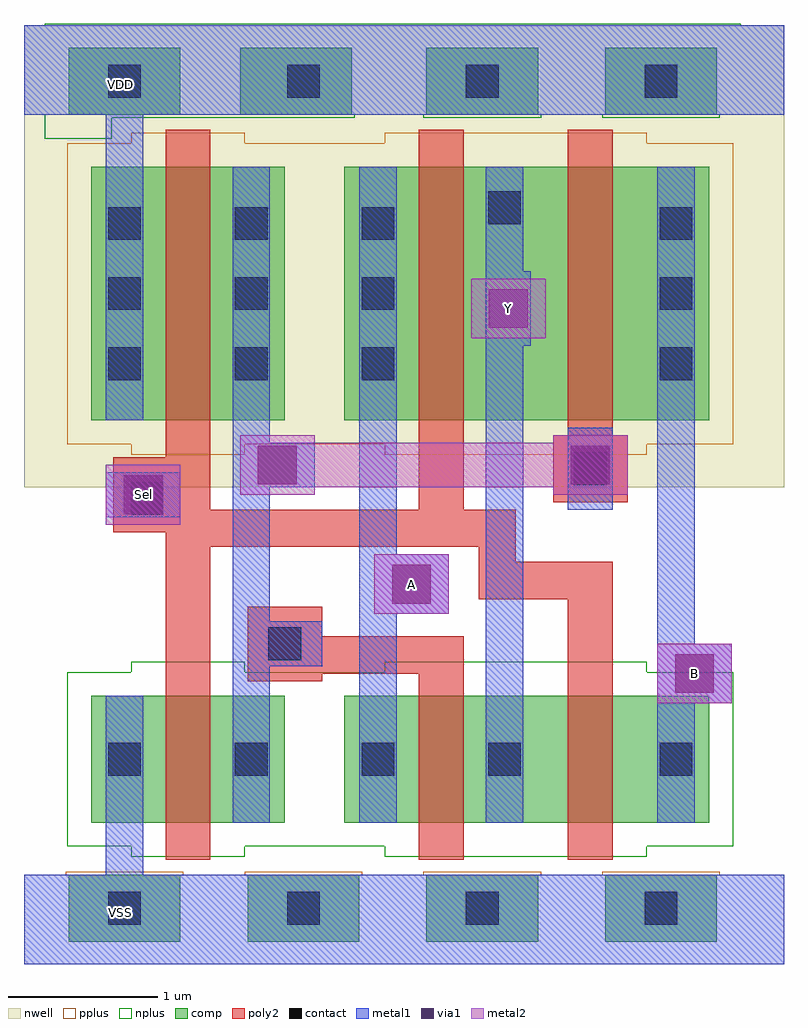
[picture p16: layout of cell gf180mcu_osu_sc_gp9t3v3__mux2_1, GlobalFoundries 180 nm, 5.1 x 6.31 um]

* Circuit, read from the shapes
.subckt gf180mcu_osu_sc_gp9t3v3__mux2_1 A B Sel VDD VSS Y
XM1 n1 Sel VSS VSS nfet_03v3 w=0.85u l=0.3u
XM2 Y n1 A VSS nfet_03v3 w=0.85u l=0.3u
XM3 B Sel Y VSS nfet_03v3 w=0.85u l=0.3u
XM4 n1 Sel VDD VDD pfet_03v3 w=1.7u l=0.3u
XM5 Y Sel A VDD pfet_03v3 w=1.7u l=0.3u
XM6 B n1 Y VDD pfet_03v3 w=1.7u l=0.3u
.ends

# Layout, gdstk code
import gdstk
lib = gdstk.Library(unit=1e-6, precision=1e-09)
def R(c, l, rs):  # rectangles x0, y0, x1, y1
    for r in rs: c.add(gdstk.rectangle(r[:2], r[2:], *l))
def A(c, l, x, y, w, h, nx, ny, dx, dy):  # array of equal rectangles
    R(c, l, [(x+i*dx, y+j*dy, x+i*dx+w, y+j*dy+h) for i in range(nx) for j in range(ny)])
nwell = (21, 0)
comp = (22, 0)
poly2 = (30, 0)
pplus = (31, 0)
nplus = (32, 0)
contact = (33, 0)
metal1 = (34, 0)
via1 = (35, 0)
metal2 = (36, 0)

gf180mcu_osu_sc_gp9t3v3_ = lib.new_cell('gf180mcu_osu_sc_gp9t3v3__mux2_1')
R(gf180mcu_osu_sc_gp9t3v3_, nwell, [(0,3.2,5.1,6.3)])
A(gf180mcu_osu_sc_gp9t3v3_, comp, 0.3, 0.15, 0.75, 0.45, 4, 1, 1.2, 0)
R(gf180mcu_osu_sc_gp9t3v3_, comp, [(0.45,0.95,1.75,1.8), (2.15,0.95,4.6,1.8), (0.45,3.65,1.75,5.35), (2.15,3.65,4.6,5.35), (0.3,5.7,1.05,6.15), (1.45,5.7,2.2,6.15), (2.7,5.7,3.45,6.15), (3.9,5.7,4.65,6.15)])
R(gf180mcu_osu_sc_gp9t3v3_, poly2, [(0.95,0.7,1.25,2.8), (2.65,0.7,2.95,1.95), (3.65,0.7,3.95,2.45), (1.5,1.9,2,1.95), (1.5,1.95,2.95,2.2), (1.5,2.2,2,2.4), (3.05,2.45,3.95,2.7), (3.05,2.7,3.3,2.8), (0.95,2.8,3.3,2.9), (0.6,2.9,3.3,3.05), (0.6,3.05,1.25,3.4), (2.65,3.05,2.95,5.6), (3.55,3.1,4.05,3.55), (0.95,3.4,1.25,5.6), (3.65,3.55,3.95,5.6)])
A(gf180mcu_osu_sc_gp9t3v3_, pplus, 0.28, 0.13, 0.79, 0.49, 4, 1, 1.2, 0)
R(gf180mcu_osu_sc_gp9t3v3_, pplus, [(0,0,5.1,0.6), (0.72,3.42,1.48,3.49), (2.42,3.42,4.18,3.49), (0.29,3.49,4.76,5.51), (0.72,5.51,1.48,5.58), (2.42,5.51,4.18,5.58)])
R(gf180mcu_osu_sc_gp9t3v3_, nplus, [(0.72,0.72,1.48,0.79), (2.42,0.72,4.18,0.79), (0.29,0.79,4.76,1.96), (0.72,1.96,1.48,2.03), (2.42,1.96,4.18,2.03), (0.14,5.54,0.59,5.68), (0.14,5.68,2.22,5.7), (2.68,5.68,3.47,5.7), (3.88,5.68,4.67,5.7), (0,5.7,5.1,6.3), (0,5.7,5.1,6.3), (0.14,6.3,4.81,6.31)])
A(gf180mcu_osu_sc_gp9t3v3_, contact, 0.565, 0.265, 0.22, 0.22, 4, 2, 1.2, 5.55)
A(gf180mcu_osu_sc_gp9t3v3_, contact, 0.565, 1.265, 0.22, 0.22, 4, 1, 0.85, 0)
A(gf180mcu_osu_sc_gp9t3v3_, contact, 0.565, 3.92, 0.22, 0.22, 3, 3, 0.85, 0.47)
A(gf180mcu_osu_sc_gp9t3v3_, contact, 4.265, 3.92, 0.22, 0.22, 1, 3, 0, 0.47)
R(gf180mcu_osu_sc_gp9t3v3_, contact, [(4.265,1.265,4.485,1.485), (1.64,2.04,1.86,2.26), (0.715,3.015,0.935,3.235), (3.69,3.215,3.91,3.435), (3.115,4.965,3.335,5.185)])
R(gf180mcu_osu_sc_gp9t3v3_, metal1, [(0,0,5.1,0.6), (0.55,0.6,0.8,1.8), (1.4,0.95,1.65,2), (2.25,0.95,2.5,2.35), (3.1,0.95,3.35,4.15), (4.25,0.95,4.5,1.75), (4.25,1.75,4.75,2.15), (1.4,2,2,2.3), (4.25,2.15,4.5,5.35), (1.4,2.3,1.65,3.2), (2.25,2.35,2.85,2.75), (2.25,2.75,2.5,5.35), (0.55,3,1.05,3.3), (3.65,3.05,3.95,3.6), (1.4,3.2,1.95,3.5), (1.4,3.5,1.65,5.35), (0.55,3.65,0.8,5.7), (3.1,4.15,3.4,4.65), (3.1,4.65,3.35,5.35), (0,5.7,5.1,6.3)])
R(gf180mcu_osu_sc_gp9t3v3_, via1, [(4.37,1.82,4.63,2.08), (2.47,2.42,2.73,2.68), (0.67,3.02,0.93,3.28), (1.57,3.22,1.83,3.48), (3.67,3.22,3.93,3.48), (3.12,4.27,3.38,4.53)])
R(gf180mcu_osu_sc_gp9t3v3_, metal2, [(4.25,1.75,4.75,2.15), (2.35,2.35,2.85,2.75), (0.55,2.95,1.05,3.35), (1.45,3.15,1.95,3.2), (3.55,3.15,4.05,3.2), (1.45,3.2,4.05,3.5), (1.45,3.5,1.95,3.55), (3.55,3.5,4.05,3.55), (3,4.2,3.5,4.6)])
gf180mcu_osu_sc_gp9t3v3_.add(gdstk.Label('VDD', (0.65,5.9), layer=22, texttype=0))
gf180mcu_osu_sc_gp9t3v3_.add(gdstk.Label('VSS', (0.65,0.35), layer=22, texttype=0))
gf180mcu_osu_sc_gp9t3v3_.add(gdstk.Label('A', (2.6,2.55), layer=36, texttype=10))
gf180mcu_osu_sc_gp9t3v3_.add(gdstk.Label('B', (4.5,1.95), layer=36, texttype=10))
gf180mcu_osu_sc_gp9t3v3_.add(gdstk.Label('Sel', (0.8,3.15), layer=36, texttype=10))
gf180mcu_osu_sc_gp9t3v3_.add(gdstk.Label('Y', (3.25,4.4), layer=36, texttype=10))

lib.write_gds('gf180mcu_osu_sc_gp9t3v3__mux2_1.gds')
